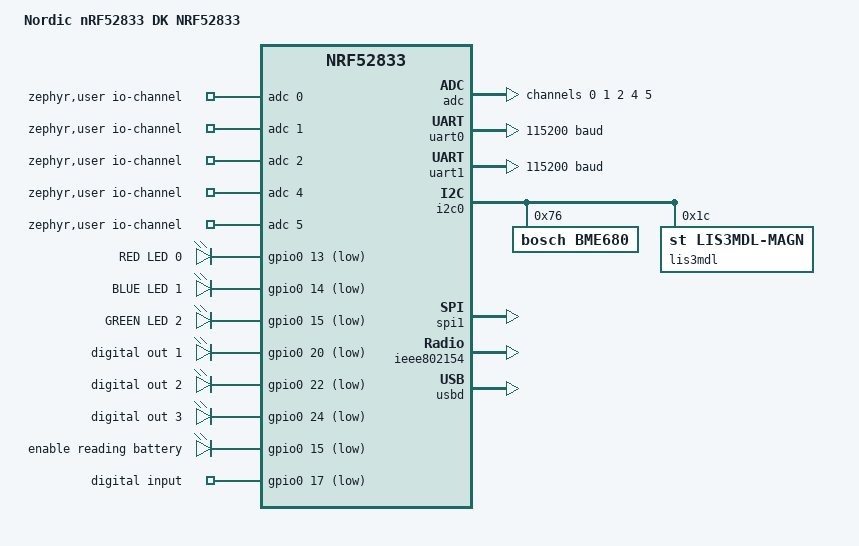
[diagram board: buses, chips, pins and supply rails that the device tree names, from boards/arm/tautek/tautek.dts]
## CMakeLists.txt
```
# SPDX-License-Identifier: Apache-2.0

cmake_minimum_required(VERSION 3.20.0)
find_package(Zephyr REQUIRED HINTS $ENV{ZEPHYR_BASE})
project(cdc_acm)

FILE(GLOB app_sources src/*.c)
target_sources(app PRIVATE ${app_sources})
```

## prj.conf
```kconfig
CONFIG_STDOUT_CONSOLE=y
CONFIG_USB_DEVICE_STACK=y
CONFIG_USB_DEVICE_PRODUCT="Tautek USB Device"
CONFIG_USB_DEVICE_PID=0x0001
CONFIG_LOG=y
CONFIG_USB_DRIVER_LOG_LEVEL_ERR=y
CONFIG_USB_DEVICE_LOG_LEVEL_ERR=y
CONFIG_SERIAL=y
CONFIG_UART_INTERRUPT_DRIVEN=y
CONFIG_UART_LINE_CTRL=y
CONFIG_USB_DEVICE_INITIALIZE_AT_BOOT=n
```

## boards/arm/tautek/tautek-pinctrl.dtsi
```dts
/*
 * Copyright (c) 2022 Nordic Semiconductor
 * SPDX-License-Identifier: Apache-2.0
 */

&pinctrl {
	uart0_default: uart0_default {
		group1 {
			psels = <NRF_PSEL(UART_TX, 0, 6)>,
				<NRF_PSEL(UART_RTS, 0, 5)>;
		};
		group2 {
			psels = <NRF_PSEL(UART_RX, 0, 8)>,
				<NRF_PSEL(UART_CTS, 0, 7)>;
			bias-pull-up;
		};
	};

	uart0_sleep: uart0_sleep {
		group1 {
			psels = <NRF_PSEL(UART_TX, 0, 6)>,
				<NRF_PSEL(UART_RX, 0, 8)>,
				<NRF_PSEL(UART_RTS, 0, 5)>,
				<NRF_PSEL(UART_CTS, 0, 7)>;
			low-power-enable;
		};
	};

	uart1_default: uart1_default {
		group1 {
			psels = <NRF_PSEL(UART_RX, 1, 1)>;
			bias-pull-up;
		};
		group2 {
			psels = <NRF_PSEL(UART_TX, 1, 2)>;
		};
	};

	uart1_sleep: uart1_sleep {
		group1 {
			psels = <NRF_PSEL(UART_RX, 1, 1)>,
				<NRF_PSEL(UART_TX, 1, 2)>;
			low-power-enable;
		};
	};

	i2c0_default: i2c0_default {
		group1 {
			psels = <NRF_PSEL(TWIM_SDA, 0, 26)>,
				<NRF_PSEL(TWIM_SCL, 0, 27)>;
		};
	};

	i2c0_sleep: i2c0_sleep {
		group1 {
			psels = <NRF_PSEL(TWIM_SDA, 0, 26)>,
				<NRF_PSEL(TWIM_SCL, 0, 27)>;
			low-power-enable;
		};
	};

	i2c1_default: i2c1_default {
		group1 {
			psels = <NRF_PSEL(TWIM_SDA, 0, 30)>,
				<NRF_PSEL(TWIM_SCL, 0, 31)>;
		};
	};

	i2c1_sleep: i2c1_sleep {
		group1 {
			psels = <NRF_PSEL(TWIM_SDA, 0, 30)>,
				<NRF_PSEL(TWIM_SCL, 0, 31)>;
			low-power-enable;
		};
	};

	spi1_default: spi1_default {
		group1 {
			psels = <NRF_PSEL(SPIM_SCK, 0, 31)>,
				<NRF_PSEL(SPIM_MOSI, 0, 30)>,
				<NRF_PSEL(SPIM_MISO, 1, 8)>;
		};
	};

	spi1_sleep: spi1_sleep {
		group1 {
			psels = <NRF_PSEL(SPIM_SCK, 0, 31)>,
				<NRF_PSEL(SPIM_MOSI, 0, 30)>,
				<NRF_PSEL(SPIM_MISO, 1, 8)>;
			low-power-enable;
		};
	};
};
```

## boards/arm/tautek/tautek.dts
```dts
/*
 * Copyright (c) 2019 Nordic Semiconductor ASA
 *
 * SPDX-License-Identifier: Apache-2.0
 */

/dts-v1/;
#include <nordic/nrf52833_qiaa.dtsi>
#include "tautek-pinctrl.dtsi"

/ {
	model = "Nordic nRF52833 DK NRF52833";
	compatible = "nordic,nrf52833-dk-nrf52833";

	chosen {
		zephyr,console = &uart0;
		zephyr,shell-uart = &uart0;
		zephyr,uart-mcumgr = &uart0;
		zephyr,bt-mon-uart = &uart0;
		zephyr,bt-c2h-uart = &uart0;
		zephyr,sram = &sram0;
		zephyr,flash = &flash0;
		zephyr,code-partition = &slot0_partition;
		zephyr,ieee802154 = &ieee802154;
	};

	zephyr,user {
		io-channels = <&adc 0>, <&adc 1>, <&adc 2>, <&adc 4>, <&adc 5>;
	};

	leds {
		compatible = "gpio-leds";
		red_led: red_led {
			gpios = <&gpio0 13 GPIO_ACTIVE_LOW>;
			label = "RED LED 0";
		};
		blue_led: blue_led {
			gpios = <&gpio0 14 GPIO_ACTIVE_LOW>;
			label = "BLUE LED 1";
		};
		green_led: green_led {
			gpios = <&gpio0 15 GPIO_ACTIVE_LOW>;
			label = "GREEN LED 2";
		};
		dout1: dout_1 {
			gpios = <&gpio0 20 GPIO_ACTIVE_LOW>;
			label = "digital out 1";
		};
		dout2: dout_2 {
			gpios = <&gpio0 22 GPIO_ACTIVE_LOW>;
			label = "digital out 2";
		};
		dout3: dout_3 {
			gpios = <&gpio0 24 GPIO_ACTIVE_LOW>;
			label = "digital out 3";
		};
		readbat: read_bat {
			gpios = <&gpio0 15 GPIO_ACTIVE_LOW>;
			label = "enable reading battery";
		};
	};

	buttons {
		compatible = "gpio-keys";
		din: din {
			gpios = <&gpio0 17 (GPIO_PULL_UP | GPIO_ACTIVE_LOW)>;
			label = "digital input";
		};
	};
	/* These aliases are provided for compatibility with samples */
	aliases {
		redled = &red_led;
		blueled = &blue_led;
		greenled = &green_led;
		din = &din;
		dout1 = &dout1;
		dout2 = &dout2;
		dout3 = &dout3;
		readbat = &readbat;
		bootloader-led0 = &red_led;
		mcuboot-button0 = &din;
		mcuboot-led0 = &red_led;
		watchdog0 = &wdt0;
	};
};

&adc {
	status = "okay";

	#address-cells = <1>;
	#size-cells = <0>;

	channel@0 { //input range is 0 - 3.6V
		reg = <0>;
		zephyr,gain = "ADC_GAIN_1_6";
		zephyr,reference = "ADC_REF_INTERNAL";
		zephyr,acquisition-time = <ADC_ACQ_TIME_DEFAULT>;
		zephyr,input-positive = <NRF_SAADC_AIN0>; /* P0.02 */
		zephyr,resolution = <12>;
	};

	channel@1 {
		reg = <1>;
		zephyr,gain = "ADC_GAIN_1_6";
		zephyr,reference = "ADC_REF_INTERNAL";
		zephyr,acquisition-time = <ADC_ACQ_TIME_DEFAULT>;
		zephyr,input-positive = <NRF_SAADC_AIN1>; /* P0.03 */
		zephyr,resolution = <12>;
	};

	channel@2 {
		reg = <2>;
		zephyr,gain = "ADC_GAIN_1_6";
		zephyr,reference = "ADC_REF_INTERNAL";
		zephyr,acquisition-time = <ADC_ACQ_TIME_DEFAULT>;
		zephyr,input-positive = <NRF_SAADC_AIN2>; /* P0.04 */
		zephyr,resolution = <12>;
	};

	channel@4 {
		reg = <4>;
		zephyr,gain = "ADC_GAIN_1_6";
		zephyr,reference = "ADC_REF_INTERNAL";
		zephyr,acquisition-time = <ADC_ACQ_TIME_DEFAULT>;
		zephyr,input-positive = <NRF_SAADC_AIN4>; /* P0.28 */
		zephyr,resolution = <12>;
	};

	channel@5 {
		reg = <5>;
		zephyr,gain = "ADC_GAIN_1_6";
		zephyr,reference = "ADC_REF_INTERNAL";
		zephyr,acquisition-time = <ADC_ACQ_TIME_DEFAULT>;
		zephyr,input-positive = <NRF_SAADC_AIN5>; /* P0.29 */
		zephyr,resolution = <12>;
	};
};

&gpiote {
	status = "okay";
};

&gpio0 {
	status = "okay";
};

&gpio1 {
	status = "okay";
};

&uart0 {
	compatible = "nordic,nrf-uarte";
	status = "okay";
	current-speed = <115200>;
	pinctrl-0 = <&uart0_default>;
	pinctrl-1 = <&uart0_sleep>;
	pinctrl-names = "default", "sleep";
};

&uart1 {
	current-speed = <115200>;
	pinctrl-0 = <&uart1_default>;
	pinctrl-1 = <&uart1_sleep>;
	pinctrl-names = "default", "sleep";
};

&i2c0 {
	compatible = "nordic,nrf-twi";
	status = "okay";
	pinctrl-0 = <&i2c0_default>;
	pinctrl-1 = <&i2c0_sleep>;
	pinctrl-names = "default", "sleep";

	bme680@76 {
		compatible = "bosch,bme680";
		reg = <0x76>;
	};
	lis3mdl@1c {
		compatible = "st,lis3mdl-magn";
		reg = <0x1c>;
	};
};

&i2c1 {
	compatible = "nordic,nrf-twi";
	/* Cannot be used together with spi1. */
	/* status = "okay"; */
	pinctrl-0 = <&i2c1_default>;
	pinctrl-1 = <&i2c1_sleep>;
	pinctrl-names = "default", "sleep";
};

&spi1 {
	compatible = "nordic,nrf-spi";
	status = "okay";
	pinctrl-0 = <&spi1_default>;
	pinctrl-1 = <&spi1_sleep>;
	pinctrl-names = "default", "sleep";
};

&ieee802154 {
	status = "okay";
};

&flash0 {

	partitions {
		compatible = "fixed-partitions";
		#address-cells = <1>;
		#size-cells = <1>;

		boot_partition: partition@0 {
			label = "mcuboot";
			reg = <0x00000000 0xC000>;
		};
		slot0_partition: partition@c000 {
			label = "image-0";
			reg = <0x0000C000 0x37000>;
		};
		slot1_partition: partition@43000 {
			label = "image-1";
			reg = <0x00043000 0x37000>;
		};
		storage_partition: partition@7a000 {
			label = "storage";
			reg = <0x0007A000 0x00006000>;
		};
	};
};

zephyr_udc0: &usbd {
	compatible = "nordic,nrf-usbd";
	status = "okay";
};
```

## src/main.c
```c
/*
 * Copyright (c) 2019 Intel Corporation
 *
 * SPDX-License-Identifier: Apache-2.0
 */

/**
 * @file
 * @brief Sample echo app for CDC ACM class
 *
 * Sample app for USB CDC ACM class driver. The received data is echoed back
 * to the serial port.
 */

#include <stdio.h>
#include <string.h>
#include <zephyr/device.h>
#include <zephyr/drivers/uart.h>
#include <zephyr/kernel.h>
#include <zephyr/sys/ring_buffer.h>

#include <zephyr/usb/usb_device.h>
#include <zephyr/usb/usbd.h>

#define RING_BUF_SIZE 1024
uint8_t ring_buffer[RING_BUF_SIZE];

struct ring_buf ringbuf;

#if defined(CONFIG_USB_DEVICE_STACK_NEXT)
USBD_CONFIGURATION_DEFINE(config_1,
			  USB_SCD_SELF_POWERED,
			  200);

USBD_DESC_LANG_DEFINE(sample_lang);
USBD_DESC_STRING_DEFINE(sample_mfr, "ZEPHYR", 1);
USBD_DESC_STRING_DEFINE(sample_product, "Zephyr USBD CDC ACM", 2);
USBD_DESC_STRING_DEFINE(sample_sn, "0123456789ABCDEF", 3);

USBD_DEVICE_DEFINE(sample_usbd,
		   DEVICE_DT_GET(DT_NODELABEL(zephyr_udc0)),
		   0x2fe3, 0x0001);

static int enable_usb_device_next(void)
{
	int err;

	err = usbd_add_descriptor(&sample_usbd, &sample_lang);
	if (err) {
		printk("Failed to initialize language descriptor (%d)", err);
		return err;
	}

	err = usbd_add_descriptor(&sample_usbd, &sample_mfr);
	if (err) {
		printk("Failed to initialize manufacturer descriptor (%d)", err);
		return err;
	}

	err = usbd_add_descriptor(&sample_usbd, &sample_product);
	if (err) {
		printk("Failed to initialize product descriptor (%d)", err);
		return err;
	}

	err = usbd_add_descriptor(&sample_usbd, &sample_sn);
	if (err) {
		printk("Failed to initialize SN descriptor (%d)", err);
		return err;
	}

	err = usbd_add_configuration(&sample_usbd, &config_1);
	if (err) {
		printk("Failed to add configuration (%d)", err);
		return err;
	}

	err = usbd_register_class(&sample_usbd, "cdc_acm_0", 1);
	if (err) {
		printk("Failed to register CDC ACM class (%d)", err);
		return err;
	}

	err = usbd_init(&sample_usbd);
	if (err) {
		printk("Failed to initialize device support");
		return err;
	}

	err = usbd_enable(&sample_usbd);
	if (err) {
		printk("Failed to enable device support");
		return err;
	}

	printk("USB device support enabled");

	return 0;
}
#endif /* IS_ENABLED(CONFIG_USB_DEVICE_STACK_NEXT) */

static void interrupt_handler(const struct device *dev, void *user_data)
{
	ARG_UNUSED(user_data);

	while (uart_irq_update(dev) && uart_irq_is_pending(dev)) {
		if (uart_irq_rx_ready(dev)) {
			int recv_len, rb_len;
			uint8_t buffer[64];
			size_t len = MIN(ring_buf_space_get(&ringbuf),
					 sizeof(buffer));

			recv_len = uart_fifo_read(dev, buffer, len);
			if (recv_len < 0) {
				printk("Failed to read UART FIFO");
				recv_len = 0;
			};

			rb_len = ring_buf_put(&ringbuf, buffer, recv_len);
			if (rb_len < recv_len) {
				printk("Drop %u bytes", recv_len - rb_len);
			}

			printk("tty fifo -> ringbuf %d bytes", rb_len);
			if (rb_len) {
				uart_irq_tx_enable(dev);
			}
		}

		if (uart_irq_tx_ready(dev)) {
			uint8_t buffer[64];
			int rb_len, send_len;

			rb_len = ring_buf_get(&ringbuf, buffer, sizeof(buffer));
			if (!rb_len) {
				printk("Ring buffer empty, disable TX IRQ");
				uart_irq_tx_disable(dev);
				continue;
			}

			send_len = uart_fifo_fill(dev, buffer, rb_len);
			if (send_len < rb_len) {
				printk("Drop %d bytes", rb_len - send_len);
			}

			printk("ringbuf -> tty fifo %d bytes", send_len);
		}
	}
}

int main(void)
{
	const struct device *dev;
	uint32_t baudrate, dtr = 0U;
	int ret;

	dev = DEVICE_DT_GET_ONE(zephyr_cdc_acm_uart);
	if (!device_is_ready(dev)) {
		printk("CDC ACM device not ready");
		return 0;
	}

#if defined(CONFIG_USB_DEVICE_STACK_NEXT)
		ret = enable_usb_device_next();
#else
		ret = usb_enable(NULL);
#endif

	if (ret != 0) {
		printk("Failed to enable USB");
		return 0;
	}

	ring_buf_init(&ringbuf, sizeof(ring_buffer), ring_buffer);

	printk("Wait for DTR");

	while (true) {
		uart_line_ctrl_get(dev, UART_LINE_CTRL_DTR, &dtr);
		if (dtr) {
			break;
		} else {
			/* Give CPU resources to low priority threads. */
			k_sleep(K_MSEC(100));
		}
	}

	printk("DTR set");

	/* They are optional, we use them to test the interrupt endpoint */
	ret = uart_line_ctrl_set(dev, UART_LINE_CTRL_DCD, 1);
	if (ret) {
		printk("Failed to set DCD, ret code %d", ret);
	}

	ret = uart_line_ctrl_set(dev, UART_LINE_CTRL_DSR, 1);
	if (ret) {
		printk("Failed to set DSR, ret code %d", ret);
	}

	/* Wait 100ms for the host to do all settings */
	k_msleep(100);

	ret = uart_line_ctrl_get(dev, UART_LINE_CTRL_BAUD_RATE, &baudrate);
	if (ret) {
		printk("Failed to get baudrate, ret code %d", ret);
	} else {
		printk("Baudrate detected: %d", baudrate);
	}

	uart_irq_callback_set(dev, interrupt_handler);

	/* Enable rx interrupts */
	uart_irq_rx_enable(dev);
	return 0;
}
```
